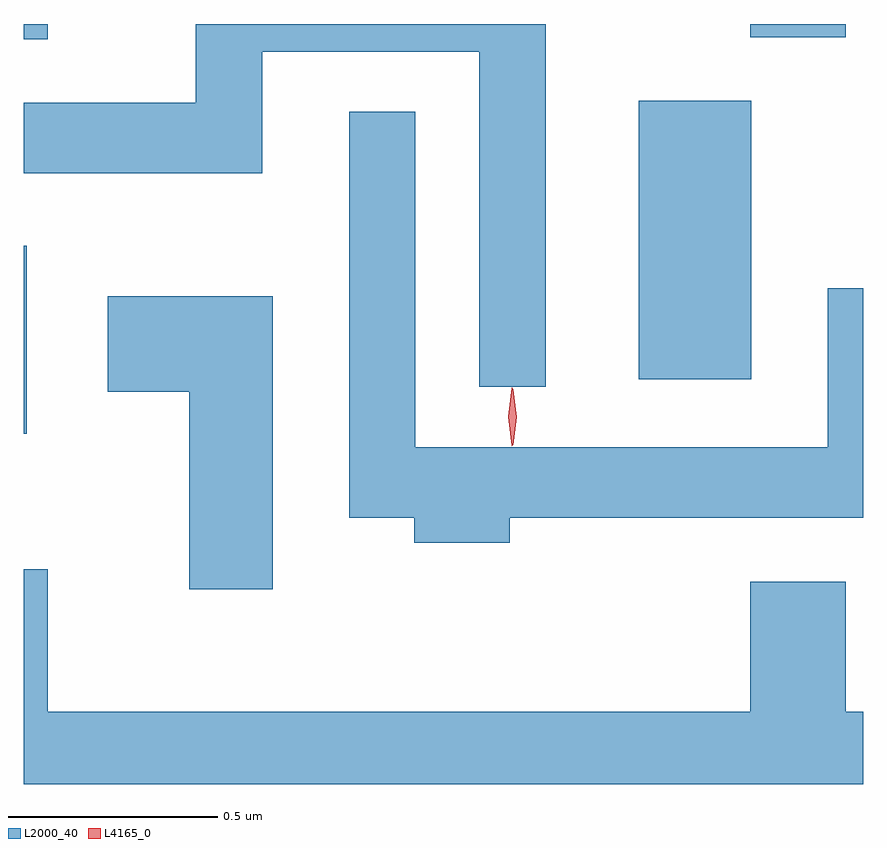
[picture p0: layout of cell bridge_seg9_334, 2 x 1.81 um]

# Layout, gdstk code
import gdstk
lib = gdstk.Library(unit=1e-6, precision=1e-09)
def R(c, l, rs):  # rectangles x0, y0, x1, y1
    for r in rs: c.add(gdstk.rectangle(r[:2], r[2:], *l))
def P(c, l, *ps):  # polygons
    for p in ps: c.add(gdstk.Polygon(p, *l))
L2000_40 = (2000, 40)
L4165_0 = (4165, 0)

bridge_seg9_334 = lib.new_cell('bridge_seg9_334')
R(bridge_seg9_334, L2000_40, [(1040.371,2081.546,1040.379,2081.994), (1041.836,2081.676,1042.104,2082.339), (1040.371,2082.486,1040.429,2082.522), (1042.101,2082.491,1042.329,2082.522)])
P(bridge_seg9_334, L2000_40, [(1041.614,2082.522),(1040.781,2082.522),(1040.781,2082.334),(1040.371,2082.334),(1040.371,2082.166),(1040.939,2082.166),(1040.939,2082.456),(1041.456,2082.456),(1041.456,2081.658),(1041.614,2081.658)],
  [(1041.529,2081.346),(1042.371,2081.346),(1042.371,2081.893),(1042.286,2081.893),(1042.286,2081.514),(1041.304,2081.514),(1041.304,2082.313),(1041.146,2082.313),(1041.146,2081.346),(1041.301,2081.346),(1041.301,2081.286),(1041.529,2081.286)],
  [(1040.964,2081.874),(1040.571,2081.874),(1040.571,2081.646),(1040.766,2081.646),(1040.766,2081.176),(1040.964,2081.176)],
  [(1042.371,2080.884),(1042.329,2080.884),(1042.329,2081.194),(1042.101,2081.194),(1042.101,2080.884),(1040.429,2080.884),(1040.429,2081.224),(1040.371,2081.224),(1040.371,2080.712),(1042.371,2080.712)])
P(bridge_seg9_334, L4165_0, [(1041.534,2081.517),(1041.525,2081.587),(1041.534,2081.656),(1041.535,2081.656),(1041.535,2081.656),(1041.545,2081.587),(1041.535,2081.517),(1041.535,2081.517)],
  [(1041.536,2081.519),(1041.536,2081.52),(1041.526,2081.586),(1041.536,2081.652),(1041.536,2081.653),(1041.537,2081.652),(1041.546,2081.586),(1041.537,2081.52)])

lib.write_gds('bridge_seg9_334.gds')
